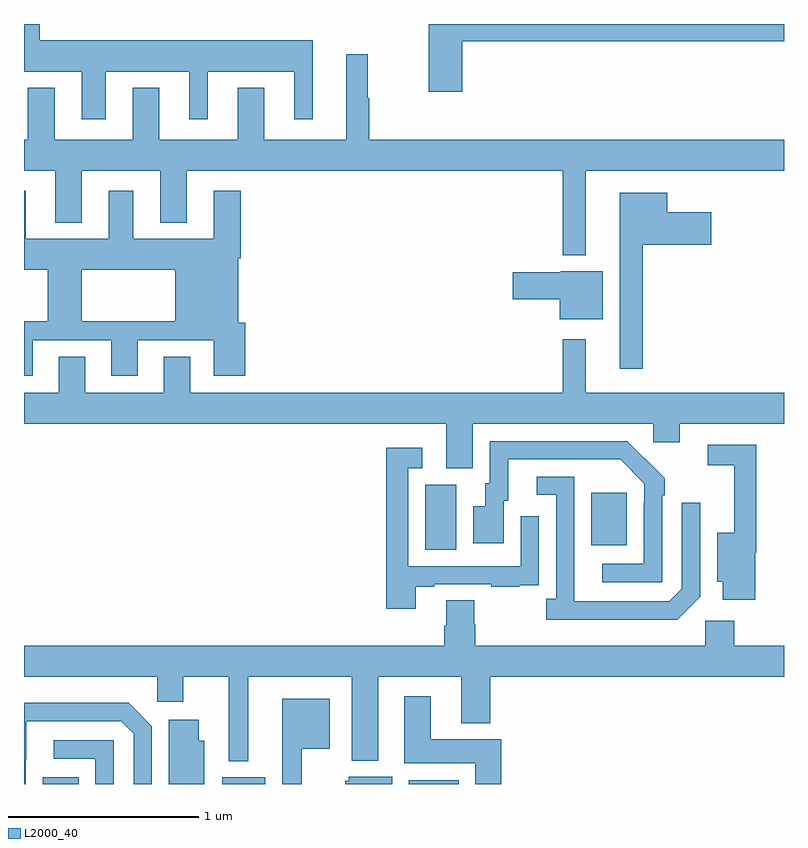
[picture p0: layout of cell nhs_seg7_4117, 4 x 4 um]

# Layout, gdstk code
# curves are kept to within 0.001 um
import gdstk
lib = gdstk.Library(unit=1e-6, precision=1e-09)
def R(c, l, rs):  # rectangles x0, y0, x1, y1
    for r in rs: c.add(gdstk.rectangle(r[:2], r[2:], *l))
def P(c, l, *ps):  # polygons
    for p in ps: c.add(gdstk.Polygon(p, *l))
L2000_40 = (2000, 40)

nhs_seg7_4117 = lib.new_cell('nhs_seg7_4117')
R(nhs_seg7_4117, L2000_40, [(371.099,1052,371.287,1052.035), (372.044,1052,372.271,1052.035), (373.025,1052,373.288,1052.02), (373.112,1053.232,373.276,1053.576), (373.985,1053.257,374.173,1053.532)])
P(nhs_seg7_4117, L2000_40, [(371.431,1055.75),(371.87,1055.75),(371.87,1055.499),(371.968,1055.499),(371.968,1055.75),(372.422,1055.75),(372.422,1055.499),(372.52,1055.499),(372.52,1055.914),(371.083,1055.914),(371.083,1056),(371,1056),(371,1055.75),(371.303,1055.75),(371.303,1055.499),(371.431,1055.499)],
  [(373.307,1055.908),(375,1055.908),(375,1056),(373.129,1056),(373.129,1055.643),(373.307,1055.643)],
  [(373.957,1055.228),(375,1055.228),(375,1055.392),(372.817,1055.392),(372.817,1055.609),(372.809,1055.609),(372.809,1055.842),(372.695,1055.842),(372.695,1055.392),(372.265,1055.392),(372.265,1055.665),(372.125,1055.665),(372.125,1055.392),(371.713,1055.392),(371.713,1055.665),(371.573,1055.665),(371.573,1055.392),(371.161,1055.392),(371.161,1055.665),(371.021,1055.665),(371.021,1055.392),(371,1055.392),(371,1055.228),(371.165,1055.228),(371.165,1054.955),(371.305,1054.955),(371.305,1055.228),(371.717,1055.228),(371.717,1054.955),(371.857,1054.955),(371.857,1055.228),(373.836,1055.228),(373.836,1054.784),(373.957,1054.784)],
  [(371.047,1054.335),(371.459,1054.335),(371.459,1054.149),(371.599,1054.149),(371.599,1054.335),(371.999,1054.335),(371.999,1054.149),(372.164,1054.149),(372.164,1054.428),(372.127,1054.428),(372.127,1054.766),(372.14,1054.766),(372.14,1055.122),(371.999,1055.122),(371.999,1054.87),(371.575,1054.87),(371.575,1055.122),(371.447,1055.122),(371.447,1054.87),(371.008,1054.87),(371.008,1055.122),(371,1055.122),(371,1054.706),(371.126,1054.706),(371.126,1054.436),(371.304,1054.436),(371.304,1054.706),(371.795,1054.706),(371.795,1054.436),(371.304,1054.436),(371.126,1054.436),(371,1054.436),(371,1054.149),(371.047,1054.149)],
  [(374.257,1054.838),(374.617,1054.838),(374.617,1055.008),(374.386,1055.008),(374.386,1055.113),(374.135,1055.113),(374.135,1054.185),(374.257,1054.185)],
  [(374.047,1054.699),(373.824,1054.699),(373.824,1054.694),(373.572,1054.694),(373.572,1054.552),(373.82,1054.552),(373.82,1054.445),(374.047,1054.445)],
  [(373.363,1053.896),(374.313,1053.896),(374.313,1053.798),(374.452,1053.798),(374.452,1053.896),(375,1053.896),(375,1054.06),(373.957,1054.06),(373.957,1054.342),(373.836,1054.342),(373.836,1054.06),(371.875,1054.06),(371.875,1054.25),(371.735,1054.25),(371.735,1054.06),(371.323,1054.06),(371.323,1054.25),(371.183,1054.25),(371.183,1054.06),(371,1054.06),(371,1053.896),(373.223,1053.896),(373.223,1053.661),(373.363,1053.661)],
  [(374.358,1053.521),(374.373,1053.521),(374.373,1053.609),(374.176,1053.804),(373.452,1053.804),(373.452,1053.582),(373.427,1053.582),(373.427,1053.463),(373.364,1053.463),(373.364,1053.267),(373.525,1053.267),(373.525,1053.492),(373.549,1053.492),(373.549,1053.708),(374.137,1053.708),(374.265,1053.579),(374.265,1053.479),(374.262,1053.479),(374.262,1053.159),(374.043,1053.159),(374.043,1053.063),(374.358,1053.063)],
  [(374.849,1053.218),(374.855,1053.218),(374.855,1053.786),(374.598,1053.786),(374.598,1053.678),(374.738,1053.678),(374.738,1053.322),(374.648,1053.322),(374.648,1053.065),(374.678,1053.065),(374.678,1052.97),(374.849,1052.97)],
  [(373.063,1053.039),(373.159,1053.039),(373.159,1053.051),(373.459,1053.051),(373.459,1053.039),(373.607,1053.039),(373.607,1053.045),(373.709,1053.045),(373.709,1053.154),(373.71,1053.154),(373.71,1053.409),(373.614,1053.409),(373.614,1053.147),(373.023,1053.147),(373.023,1053.663),(373.096,1053.663),(373.096,1053.769),(372.907,1053.769),(372.907,1052.922),(373.063,1052.922)],
  [(374.559,1052.985),(374.559,1053.481),(374.463,1053.481),(374.463,1053.027),(374.397,1052.961),(373.897,1052.961),(373.896,1053.618),(373.698,1053.618),(373.698,1053.522),(373.8,1053.522),(373.8,1052.974),(373.749,1052.974),(373.749,1052.864),(374.438,1052.864)],
  [(372.181,1052.564),(372.725,1052.564),(372.725,1052.123),(372.865,1052.123),(372.865,1052.564),(373.301,1052.564),(373.301,1052.321),(373.454,1052.321),(373.454,1052.564),(375,1052.564),(375,1052.728),(374.738,1052.728),(374.738,1052.86),(374.586,1052.86),(374.586,1052.728),(373.376,1052.728),(373.376,1052.841),(373.371,1052.841),(373.371,1052.966),(373.223,1052.966),(373.223,1052.834),(373.211,1052.834),(373.211,1052.728),(371,1052.728),(371,1052.564),(371.7,1052.564),(371.7,1052.433),(371.839,1052.433),(371.839,1052.564),(372.077,1052.564),(372.077,1052.12),(372.181,1052.12)],
  [(373.511,1052.236),(373.141,1052.236),(373.141,1052.461),(373.001,1052.461),(373.001,1052.108),(373.376,1052.108),(373.376,1052),(373.511,1052)],
  [(372.463,1052.186),(372.61,1052.186),(372.61,1052.449),(372.359,1052.449),(372.359,1052),(372.463,1052)],
  [(371.01,1052.131),(371.011,1052.131),(371.011,1052.331),(371.511,1052.331),(371.577,1052.265),(371.577,1052),(371.673,1052),(371.673,1052.305),(371.55,1052.428),(371,1052.428),(371,1052),(371.01,1052)],
  [(371.949,1052.227),(371.92,1052.227),(371.92,1052.338),(371.762,1052.338),(371.762,1052),(371.949,1052)],
  [(371.472,1052.229),(371.157,1052.229),(371.157,1052.133),(371.376,1052.133),(371.376,1052),(371.472,1052)],
  [(372.937,1052.038),(372.708,1052.038),(372.708,1052.016),(372.692,1052.016),(372.692,1052),(372.937,1052)])

lib.write_gds('nhs_seg7_4117.gds')
